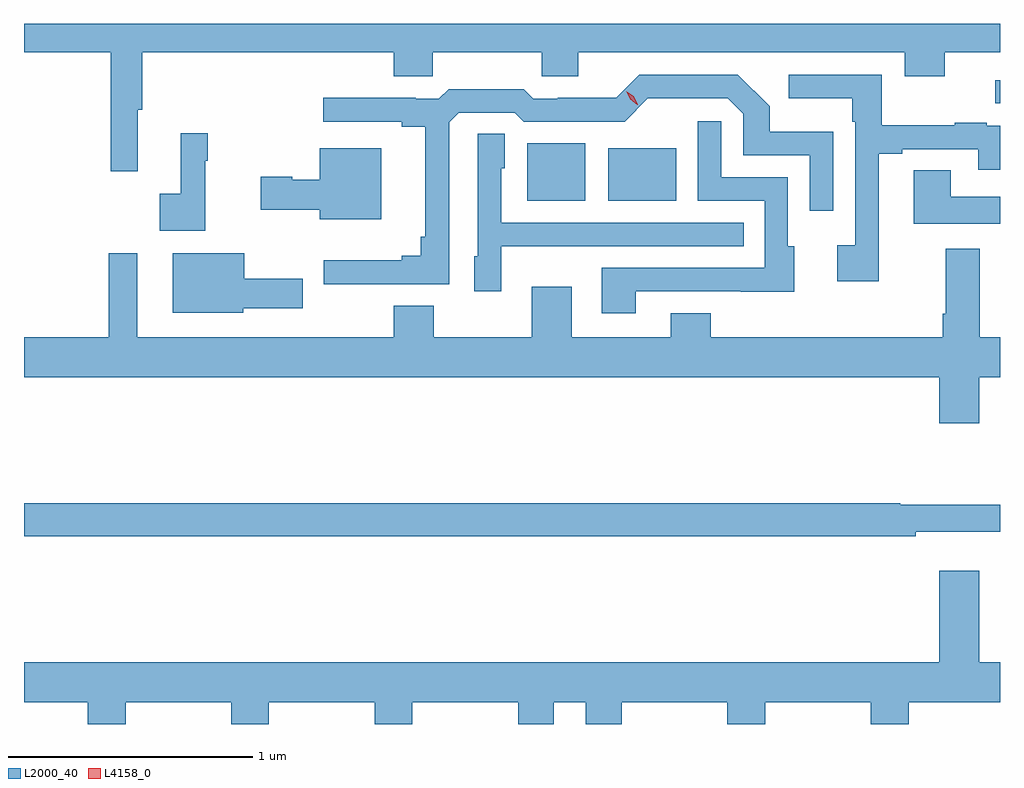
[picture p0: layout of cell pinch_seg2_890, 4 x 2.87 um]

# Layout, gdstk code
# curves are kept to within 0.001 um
import gdstk
lib = gdstk.Library(unit=1e-6, precision=1e-09)
def R(c, l, rs):  # rectangles x0, y0, x1, y1
    for r in rs: c.add(gdstk.rectangle(r[:2], r[2:], *l))
def P(c, l, *ps):  # polygons
    for p in ps: c.add(gdstk.Polygon(p, *l))
L2000_40 = (2000, 40)
L4158_0 = (4158, 0)

pinch_seg2_890 = lib.new_cell('pinch_seg2_890')
R(pinch_seg2_890, L2000_40, [(427.055,665.675,427.294,665.911), (427.388,665.675,427.666,665.89), (428.973,666.075,428.993,666.169)])
P(pinch_seg2_890, L2000_40, [(425.459,666.048),(425.477,666.048),(425.477,666.284),(426.509,666.284),(426.509,666.186),(426.669,666.186),(426.669,666.284),(427.114,666.284),(427.114,666.186),(427.264,666.186),(427.264,666.284),(428.603,666.284),(428.603,666.185),(428.767,666.185),(428.767,666.284),(428.993,666.284),(428.993,666.4),(424.993,666.4),(424.993,666.284),(425.349,666.284),(425.349,665.796),(425.459,665.796)],
  [(426.735,665.997),(426.774,666.036),(427.005,666.036),(427.041,666),(427.455,666),(427.55,666.095),(427.878,666.096),(427.941,666.033),(427.941,665.862),(428.214,665.862),(428.214,665.634),(428.31,665.634),(428.31,665.959),(428.049,665.959),(428.049,666.062),(427.918,666.192),(427.515,666.192),(427.421,666.098),(427.18,666.098),(427.18,666.093),(427.08,666.093),(427.041,666.133),(426.733,666.133),(426.693,666.093),(426.599,666.093),(426.599,666.098),(426.219,666.098),(426.219,666),(426.542,666),(426.542,665.978),(426.638,665.978),(426.638,665.527),(426.619,665.527),(426.619,665.45),(426.542,665.45),(426.542,665.431),(426.221,665.431),(426.221,665.334),(426.735,665.334)],
  [(428.497,665.868),(428.593,665.868),(428.593,665.886),(428.903,665.886),(428.903,665.802),(428.993,665.802),(428.993,665.982),(428.939,665.982),(428.939,665.995),(428.807,665.995),(428.807,665.984),(428.509,665.984),(428.509,666.192),(428.127,666.192),(428.127,666.095),(428.388,666.095),(428.388,665.999),(428.4,665.999),(428.4,665.494),(428.325,665.494),(428.325,665.346),(428.497,665.346)],
  [(427.501,665.304),(427.931,665.304),(427.931,665.303),(428.149,665.303),(428.149,665.49),(428.124,665.49),(428.124,665.772),(427.851,665.772),(427.851,666.001),(427.755,666.001),(427.755,665.676),(428.028,665.676),(428.028,665.4),(427.361,665.4),(427.361,665.214),(427.501,665.214)],
  [(425.736,665.84),(425.746,665.84),(425.746,665.953),(425.636,665.953),(425.636,665.705),(425.55,665.705),(425.55,665.552),(425.736,665.552)],
  [(426.948,665.489),(427.265,665.489),(427.265,665.49),(427.943,665.49),(427.943,665.586),(426.948,665.586),(426.948,665.808),(426.964,665.808),(426.964,665.951),(426.852,665.951),(426.852,665.448),(426.839,665.448),(426.839,665.304),(426.948,665.304)],
  [(426.457,665.89),(426.206,665.89),(426.206,665.761),(426.093,665.761),(426.093,665.774),(425.964,665.774),(425.964,665.639),(426.206,665.639),(426.206,665.6),(426.457,665.6)],
  [(428.993,665.692),(428.791,665.692),(428.791,665.801),(428.639,665.801),(428.639,665.582),(428.993,665.582)],
  [(428.908,664.952),(428.993,664.952),(428.993,665.116),(428.911,665.116),(428.911,665.479),(428.771,665.479),(428.771,665.212),(428.759,665.212),(428.759,665.116),(427.807,665.116),(427.807,665.215),(427.643,665.215),(427.643,665.116),(427.237,665.116),(427.237,665.323),(427.073,665.323),(427.073,665.116),(426.673,665.116),(426.673,665.245),(426.509,665.245),(426.509,665.116),(425.458,665.116),(425.458,665.461),(425.341,665.461),(425.341,665.116),(424.993,665.116),(424.993,664.952),(428.744,664.952),(428.744,664.764),(428.908,664.764)],
  [(425.892,665.234),(426.136,665.234),(426.136,665.356),(425.896,665.356),(425.896,665.461),(425.603,665.461),(425.603,665.216),(425.892,665.216)],
  [(428.648,664.319),(428.993,664.319),(428.993,664.429),(428.584,664.429),(428.584,664.436),(424.993,664.436),(424.993,664.3),(428.648,664.3)],
  [(428.993,663.784),(428.908,663.784),(428.908,664.159),(428.744,664.159),(428.744,663.784),(424.993,663.784),(424.993,663.62),(425.254,663.62),(425.254,663.531),(425.409,663.531),(425.409,663.62),(425.842,663.62),(425.842,663.531),(425.997,663.531),(425.997,663.62),(426.43,663.62),(426.43,663.531),(426.585,663.531),(426.585,663.62),(427.018,663.62),(427.018,663.531),(427.165,663.531),(427.165,663.62),(427.295,663.62),(427.295,663.531),(427.443,663.531),(427.443,663.62),(427.876,663.62),(427.876,663.531),(428.031,663.531),(428.031,663.62),(428.464,663.62),(428.464,663.531),(428.619,663.531),(428.619,663.62),(428.993,663.62)])
P(pinch_seg2_890, L4158_0, [(427.507,666.069),(427.477,666.091),(427.461,666.125),(427.461,666.125),(427.462,666.125),(427.492,666.104),(427.508,666.07),(427.508,666.069)])

lib.write_gds('pinch_seg2_890.gds')
